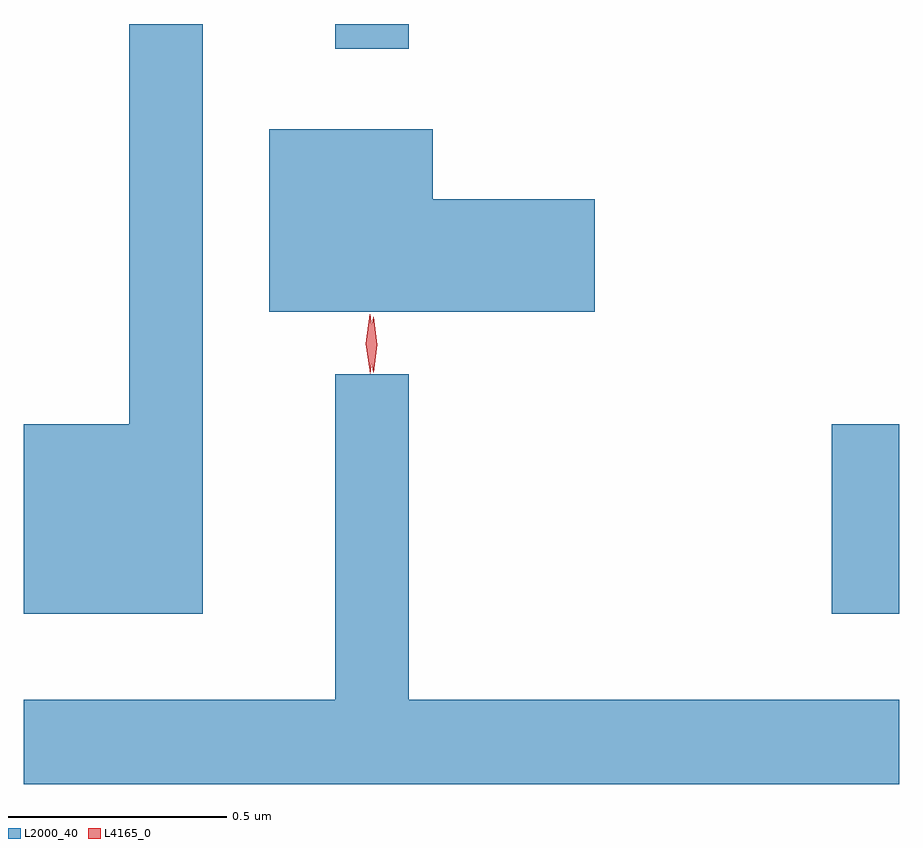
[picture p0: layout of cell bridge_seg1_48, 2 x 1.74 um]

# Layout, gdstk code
import gdstk
lib = gdstk.Library(unit=1e-6, precision=1e-09)
def R(c, l, rs):  # rectangles x0, y0, x1, y1
    for r in rs: c.add(gdstk.rectangle(r[:2], r[2:], *l))
def P(c, l, *ps):  # polygons
    for p in ps: c.add(gdstk.Polygon(p, *l))
L2000_40 = (2000, 40)
L4165_0 = (4165, 0)

bridge_seg1_48 = lib.new_cell('bridge_seg1_48')
R(bridge_seg1_48, L2000_40, [(1823.686,840.101,1823.84,840.534), (1822.551,841.393,1822.719,841.449)])
P(bridge_seg1_48, L2000_40, [(1822.249,841.449),(1822.081,841.449),(1822.081,840.534),(1821.84,840.534),(1821.84,840.101),(1822.249,840.101)],
  [(1823.144,841.049),(1822.774,841.049),(1822.774,841.209),(1822.401,841.209),(1822.401,840.791),(1823.144,840.791)],
  [(1823.84,839.904),(1822.719,839.904),(1822.719,840.648),(1822.551,840.648),(1822.551,839.904),(1821.84,839.904),(1821.84,839.712),(1823.84,839.712)])
P(bridge_seg1_48, L4165_0, [(1822.631,840.65),(1822.631,840.65),(1822.621,840.718),(1822.63,840.786),(1822.63,840.786),(1822.631,840.786),(1822.641,840.718),(1822.632,840.65)],
  [(1822.638,840.653),(1822.638,840.653),(1822.628,840.716),(1822.638,840.779),(1822.638,840.78),(1822.639,840.779),(1822.648,840.716),(1822.639,840.653)])

lib.write_gds('bridge_seg1_48.gds')
